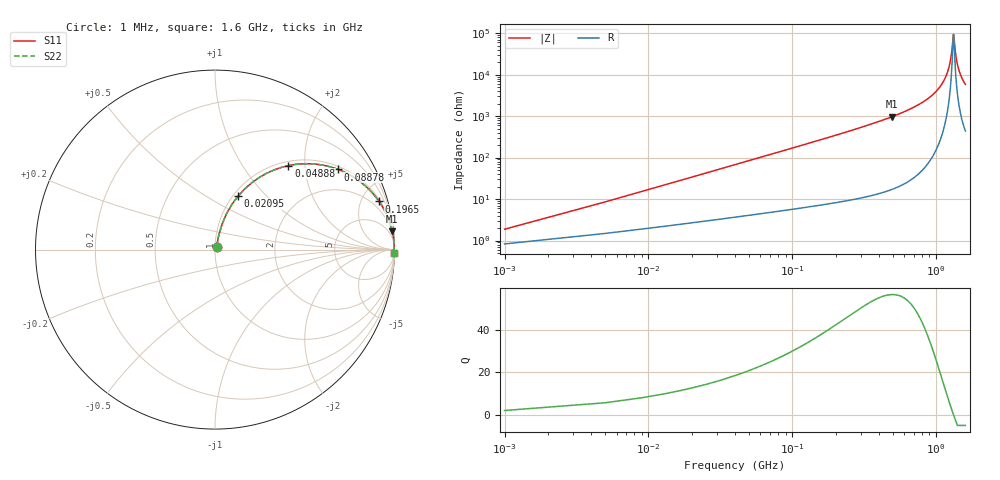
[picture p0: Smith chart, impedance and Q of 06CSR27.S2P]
! Coilcraft 0603CS-R27 Chip Inductor
! 21 May 2002
# MHZ S MA R 50
!Freq  MagS11  AngS11  MagS21  AngS21  MagS12  AngS12  MagS22  AngS22
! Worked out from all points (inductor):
!   402 points, 1 MHz to 1.6 GHz, reference 50 ohm
!   read as one part in series: L = 268 nH near 8.98 MHz
!   highest Q = 56.5 at 491.8 MHz (marker M1), where L = 311 nH
!   self-resonance near 1.322 GHz
!   S11 on the Smith chart (normalised r, x): 1 MHz: 1.02, +0.03; 20.95 MHz: 1.05, +0.71; 48.88 MHz: 1.08, +1.65; 88.78 MHz: 1.11, +3.00; 196.5 MHz: 1.16, +6.77; 1.6 GHz: open
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1  0.01862 62.8  0.9916 -1.0  0.9916 -1.0  0.01862 62.8
12.97  0.21 72.2  0.9568 -12.1  0.9568 -12.1  0.21 72.2
20.95  0.3258 66.6  0.9207 -19.0  0.9207 -19.0  0.3258 66.6
32.92  0.4738 58.3  0.8526 -28.2  0.8526 -28.2  0.4738 58.3
48.88  0.6218 48.8  0.7535 -38.4  0.7535 -38.4  0.6218 48.8
88.78  0.8192 33.0  0.5452 -55.0  0.5452 -55.0  0.8192 33.0
132.67  0.9047 23.6  0.4007 -64.7  0.4007 -64.7  0.9047 23.6
196.51  0.9529 16.3  0.2815 -72.3  0.2815 -72.3  0.9529 16.3
268.33  0.9741 11.9  0.2067 -76.9  0.2067 -76.9  0.9741 11.9
491.77  0.9928 5.9  0.1033 -83.1  0.1033 -83.1  0.9928 5.9
535.66  0.9941 5.3  0.09214 -83.7  0.09214 -83.7  0.9941 5.3
802.99  0.9978 2.7  0.04662 -86.0  0.04662 -86.0  0.9978 2.7
1070.32  0.9988 1.1  0.01917 -86.0  0.01917 -86.0  0.9988 1.1
1158.1  0.9989 0.7  0.01202 -84.5  0.01202 -84.5  0.9989 0.7
1221.94  0.999 0.4  0.00721 -81.5  0.00721 -81.5  0.999 0.4
1273.81  0.9989 0.2  0.00356 -72.7  0.00356 -72.7  0.9989 0.2
1317.7  0.9989 0.0  0.00113 -18.9  0.00113 -18.9  0.9989 0.0
1333.66  0.9989 -0.0  0.001293 33.4  0.001293 33.4  0.9989 -0.0
1373.56  0.9989 -0.2  0.003533 71.6  0.003533 71.6  0.9989 -0.2
1421.44  0.9988 -0.4  0.006532 79.6  0.006532 79.6  0.9988 -0.4
1497.25  0.9987 -0.6  0.01117 83.2  0.01117 83.2  0.9987 -0.6
1600  0.9986 -1.0  0.01718 84.7  0.01718 84.7  0.9986 -1.0
